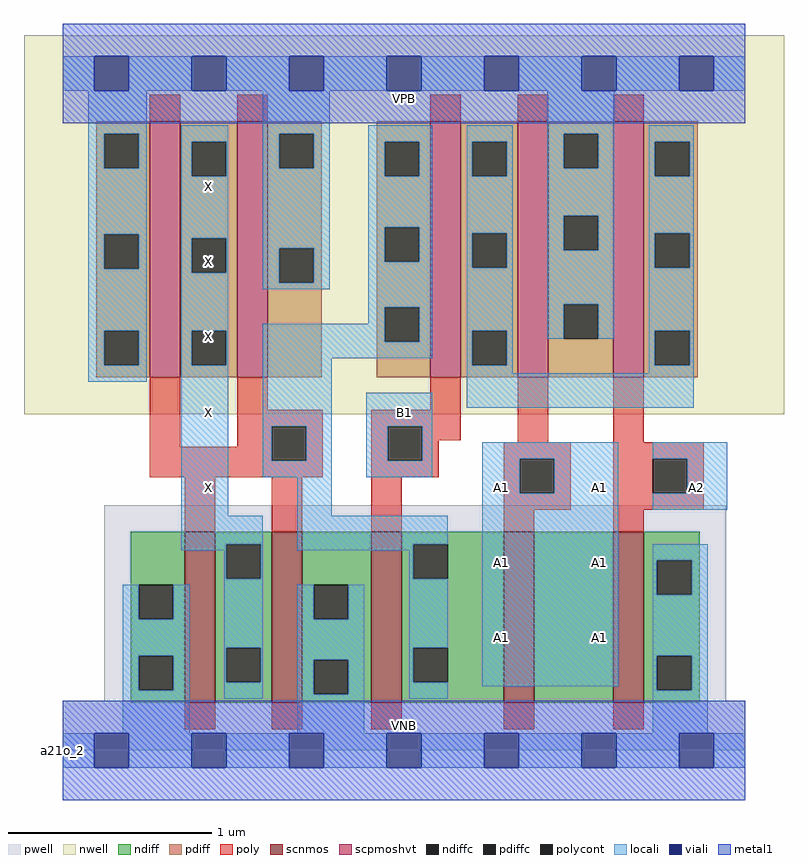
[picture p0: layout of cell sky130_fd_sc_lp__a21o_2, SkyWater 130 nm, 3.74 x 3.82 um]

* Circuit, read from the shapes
.subckt sky130_fd_sc_lp__a21o_2 A1 A2 B1 VGND VNB VPB VPWR X
XM1 X n1 VGND VNB sky130_fd_pr__nfet_01v8 w=0.84 l=0.15 m=2
XM2 n1 B1 VGND VNB sky130_fd_pr__nfet_01v8 w=0.84 l=0.15
XM3 n2 A1 n1 VNB sky130_fd_pr__nfet_01v8 w=0.84 l=0.15
XM4 VGND A2 n2 VNB sky130_fd_pr__nfet_01v8 w=0.84 l=0.15
XM5 X n1 VPWR VPB sky130_fd_pr__pfet_01v8_hvt w=1.26 l=0.15 m=2
XM6 n3 B1 n1 VPB sky130_fd_pr__pfet_01v8_hvt w=1.26 l=0.15
XM7 VPWR A1 n3 VPB sky130_fd_pr__pfet_01v8_hvt w=1.26 l=0.15
XM8 n3 A2 VPWR VPB sky130_fd_pr__pfet_01v8_hvt w=1.26 l=0.15
.ends

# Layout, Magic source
magic
tech sky130A
magscale 1 2
<< nwell >>
rect -38 331 710 704
<< pwell >>
rect 41 49 653 241
rect 0 0 672 49
<< scnmos >>
rect 120 47 150 215
rect 206 47 236 215
rect 304 47 334 215
rect 434 47 464 215
rect 542 47 572 215
<< scpmoshvt >>
rect 86 367 116 619
rect 172 367 202 619
rect 362 367 392 619
rect 448 367 478 619
rect 542 367 572 619
<< ndiff >>
rect 67 163 120 215
rect 67 129 75 163
rect 109 129 120 163
rect 67 93 120 129
rect 67 59 75 93
rect 109 59 120 93
rect 67 47 120 59
rect 150 203 206 215
rect 150 169 161 203
rect 195 169 206 203
rect 150 101 206 169
rect 150 67 161 101
rect 195 67 206 101
rect 150 47 206 67
rect 236 163 304 215
rect 236 129 247 163
rect 281 129 304 163
rect 236 89 304 129
rect 236 55 247 89
rect 281 55 304 89
rect 236 47 304 55
rect 334 203 434 215
rect 334 169 345 203
rect 379 169 434 203
rect 334 101 434 169
rect 334 67 345 101
rect 379 67 434 101
rect 334 47 434 67
rect 464 47 542 215
rect 572 187 627 215
rect 572 153 585 187
rect 619 153 627 187
rect 572 93 627 153
rect 572 59 585 93
rect 619 59 627 93
rect 572 47 627 59
<< pdiff >>
rect 33 607 86 619
rect 33 573 41 607
rect 75 573 86 607
rect 33 508 86 573
rect 33 474 41 508
rect 75 474 86 508
rect 33 413 86 474
rect 33 379 41 413
rect 75 379 86 413
rect 33 367 86 379
rect 116 599 172 619
rect 116 565 127 599
rect 161 565 172 599
rect 116 504 172 565
rect 116 470 127 504
rect 161 470 172 504
rect 116 413 172 470
rect 116 379 127 413
rect 161 379 172 413
rect 116 367 172 379
rect 202 607 255 619
rect 202 573 213 607
rect 247 573 255 607
rect 202 494 255 573
rect 202 460 213 494
rect 247 460 255 494
rect 202 367 255 460
rect 309 599 362 619
rect 309 565 317 599
rect 351 565 362 599
rect 309 515 362 565
rect 309 481 317 515
rect 351 481 362 515
rect 309 436 362 481
rect 309 402 317 436
rect 351 402 362 436
rect 309 367 362 402
rect 392 599 448 619
rect 392 565 403 599
rect 437 565 448 599
rect 392 509 448 565
rect 392 475 403 509
rect 437 475 448 509
rect 392 413 448 475
rect 392 379 403 413
rect 437 379 448 413
rect 392 367 448 379
rect 478 607 542 619
rect 478 573 493 607
rect 527 573 542 607
rect 478 526 542 573
rect 478 492 493 526
rect 527 492 542 526
rect 478 439 542 492
rect 478 405 493 439
rect 527 405 542 439
rect 478 367 542 405
rect 572 599 625 619
rect 572 565 583 599
rect 617 565 625 599
rect 572 509 625 565
rect 572 475 583 509
rect 617 475 625 509
rect 572 413 625 475
rect 572 379 583 413
rect 617 379 625 413
rect 572 367 625 379
<< ndiffc >>
rect 75 129 109 163
rect 75 59 109 93
rect 161 169 195 203
rect 161 67 195 101
rect 247 129 281 163
rect 247 55 281 89
rect 345 169 379 203
rect 345 67 379 101
rect 585 153 619 187
rect 585 59 619 93
<< pdiffc >>
rect 41 573 75 607
rect 41 474 75 508
rect 41 379 75 413
rect 127 565 161 599
rect 127 470 161 504
rect 127 379 161 413
rect 213 573 247 607
rect 213 460 247 494
rect 317 565 351 599
rect 317 481 351 515
rect 317 402 351 436
rect 403 565 437 599
rect 403 475 437 509
rect 403 379 437 413
rect 493 573 527 607
rect 493 492 527 526
rect 493 405 527 439
rect 583 565 617 599
rect 583 475 617 509
rect 583 379 617 413
<< poly >>
rect 86 619 116 645
rect 172 619 202 645
rect 362 619 392 645
rect 448 619 478 645
rect 542 619 572 645
rect 86 299 116 367
rect 172 335 202 367
rect 362 335 392 367
rect 172 319 256 335
rect 172 299 206 319
rect 86 285 206 299
rect 240 285 256 319
rect 86 269 256 285
rect 304 319 392 335
rect 304 285 320 319
rect 354 305 392 319
rect 354 285 370 305
rect 448 303 478 367
rect 542 303 572 367
rect 304 269 370 285
rect 434 287 500 303
rect 120 215 150 269
rect 206 215 236 269
rect 304 215 334 269
rect 434 253 450 287
rect 484 253 500 287
rect 434 237 500 253
rect 542 287 631 303
rect 542 253 581 287
rect 615 253 631 287
rect 542 237 631 253
rect 434 215 464 237
rect 542 215 572 237
rect 120 21 150 47
rect 206 21 236 47
rect 304 21 334 47
rect 434 21 464 47
rect 542 21 572 47
<< polycont >>
rect 206 285 240 319
rect 320 285 354 319
rect 450 253 484 287
rect 581 253 615 287
<< locali >>
rect 0 649 31 683
rect 65 649 127 683
rect 161 649 223 683
rect 257 649 319 683
rect 353 649 415 683
rect 449 649 511 683
rect 545 649 607 683
rect 641 649 672 683
rect 25 607 83 649
rect 25 573 41 607
rect 75 573 83 607
rect 25 508 83 573
rect 25 474 41 508
rect 75 474 83 508
rect 25 413 83 474
rect 25 379 41 413
rect 75 379 83 413
rect 25 363 83 379
rect 117 599 163 615
rect 117 565 127 599
rect 161 565 163 599
rect 117 504 163 565
rect 117 470 127 504
rect 161 470 163 504
rect 117 413 163 470
rect 197 607 263 649
rect 197 573 213 607
rect 247 573 263 607
rect 197 494 263 573
rect 197 460 213 494
rect 247 460 263 494
rect 197 454 263 460
rect 301 599 364 615
rect 301 565 317 599
rect 351 565 364 599
rect 301 515 364 565
rect 301 481 317 515
rect 351 481 364 515
rect 301 436 364 481
rect 301 420 317 436
rect 117 379 127 413
rect 161 379 163 413
rect 117 231 163 379
rect 197 402 317 420
rect 351 402 364 436
rect 197 386 364 402
rect 398 599 443 615
rect 398 565 403 599
rect 437 565 443 599
rect 398 509 443 565
rect 398 475 403 509
rect 437 475 443 509
rect 398 413 443 475
rect 197 319 265 386
rect 398 379 403 413
rect 437 379 443 413
rect 477 607 543 649
rect 477 573 493 607
rect 527 573 543 607
rect 477 526 543 573
rect 477 492 493 526
rect 527 492 543 526
rect 477 439 543 492
rect 477 405 493 439
rect 527 405 543 439
rect 577 599 621 615
rect 577 565 583 599
rect 617 565 621 599
rect 577 509 621 565
rect 577 475 583 509
rect 617 475 621 509
rect 577 413 621 475
rect 398 371 443 379
rect 577 379 583 413
rect 617 379 621 413
rect 577 371 621 379
rect 197 285 206 319
rect 240 285 265 319
rect 197 269 265 285
rect 299 319 364 352
rect 398 337 621 371
rect 299 285 320 319
rect 354 285 364 319
rect 299 269 364 285
rect 413 287 547 303
rect 231 231 265 269
rect 413 253 450 287
rect 484 253 547 287
rect 117 203 197 231
rect 117 197 161 203
rect 159 169 161 197
rect 195 169 197 203
rect 231 203 379 231
rect 231 197 345 203
rect 59 129 75 163
rect 109 129 125 163
rect 59 93 125 129
rect 59 59 75 93
rect 109 59 125 93
rect 59 17 125 59
rect 159 101 197 169
rect 341 169 345 197
rect 159 67 161 101
rect 195 67 197 101
rect 159 51 197 67
rect 231 129 247 163
rect 281 129 297 163
rect 231 89 297 129
rect 231 55 247 89
rect 281 55 297 89
rect 231 17 297 55
rect 341 101 379 169
rect 341 67 345 101
rect 341 51 379 67
rect 413 63 547 253
rect 581 287 654 303
rect 615 253 654 287
rect 581 237 654 253
rect 581 187 635 203
rect 581 153 585 187
rect 619 153 635 187
rect 581 93 635 153
rect 581 59 585 93
rect 619 59 635 93
rect 581 17 635 59
rect 0 -17 31 17
rect 65 -17 127 17
rect 161 -17 223 17
rect 257 -17 319 17
rect 353 -17 415 17
rect 449 -17 511 17
rect 545 -17 607 17
rect 641 -17 672 17
<< viali >>
rect 31 649 65 683
rect 127 649 161 683
rect 223 649 257 683
rect 319 649 353 683
rect 415 649 449 683
rect 511 649 545 683
rect 607 649 641 683
rect 31 -17 65 17
rect 127 -17 161 17
rect 223 -17 257 17
rect 319 -17 353 17
rect 415 -17 449 17
rect 511 -17 545 17
rect 607 -17 641 17
<< metal1 >>
rect 0 683 672 715
rect 0 649 31 683
rect 65 649 127 683
rect 161 649 223 683
rect 257 649 319 683
rect 353 649 415 683
rect 449 649 511 683
rect 545 649 607 683
rect 641 649 672 683
rect 0 617 672 649
rect 0 17 672 49
rect 0 -17 31 17
rect 65 -17 127 17
rect 161 -17 223 17
rect 257 -17 319 17
rect 353 -17 415 17
rect 449 -17 511 17
rect 545 -17 607 17
rect 641 -17 672 17
rect 0 -49 672 -17
<< labels >>
flabel pwell s 0 0 672 49 0 FreeSans 200 0 0 0 VNB
port 5 nsew ground bidirectional
flabel nwell s 0 617 672 666 0 FreeSans 200 0 0 0 VPB
port 6 nsew power bidirectional
rlabel comment s 0 0 0 0 4 a21o_2
flabel metal1 s 0 617 672 666 0 FreeSans 340 0 0 0 VPWR
port 7 nsew power bidirectional
flabel metal1 s 0 0 672 49 0 FreeSans 340 0 0 0 VGND
port 4 nsew ground bidirectional
flabel locali s 127 242 161 276 0 FreeSans 340 0 0 0 X
port 8 nsew signal output
flabel locali s 127 316 161 350 0 FreeSans 340 0 0 0 X
port 8 nsew signal output
flabel locali s 127 390 161 424 0 FreeSans 340 0 0 0 X
port 8 nsew signal output
flabel locali s 127 464 161 498 0 FreeSans 340 0 0 0 X
port 8 nsew signal output
flabel locali s 127 538 161 572 0 FreeSans 340 0 0 0 X
port 8 nsew signal output
flabel locali s 415 94 449 128 0 FreeSans 340 0 0 0 A1
port 1 nsew signal input
flabel locali s 415 168 449 202 0 FreeSans 340 0 0 0 A1
port 1 nsew signal input
flabel locali s 415 242 449 276 0 FreeSans 340 0 0 0 A1
port 1 nsew signal input
flabel locali s 511 94 545 128 0 FreeSans 340 0 0 0 A1
port 1 nsew signal input
flabel locali s 511 168 545 202 0 FreeSans 340 0 0 0 A1
port 1 nsew signal input
flabel locali s 511 242 545 276 0 FreeSans 340 0 0 0 A1
port 1 nsew signal input
flabel locali s 607 242 641 276 0 FreeSans 340 0 0 0 A2
port 2 nsew signal input
flabel locali s 319 316 353 350 0 FreeSans 340 0 0 0 B1
port 3 nsew signal input
<< properties >>
string LEFsite unit
string LEFclass CORE
string FIXED_BBOX 0 0 672 666
string GDS_FILE $PDKPATH/libs.ref/sky130_fd_sc_lp/gds/sky130_fd_sc_lp.gds
string LEFsymmetry X Y R90
string GDS_END 2583068
string GDS_START 2575610
<< end >>
